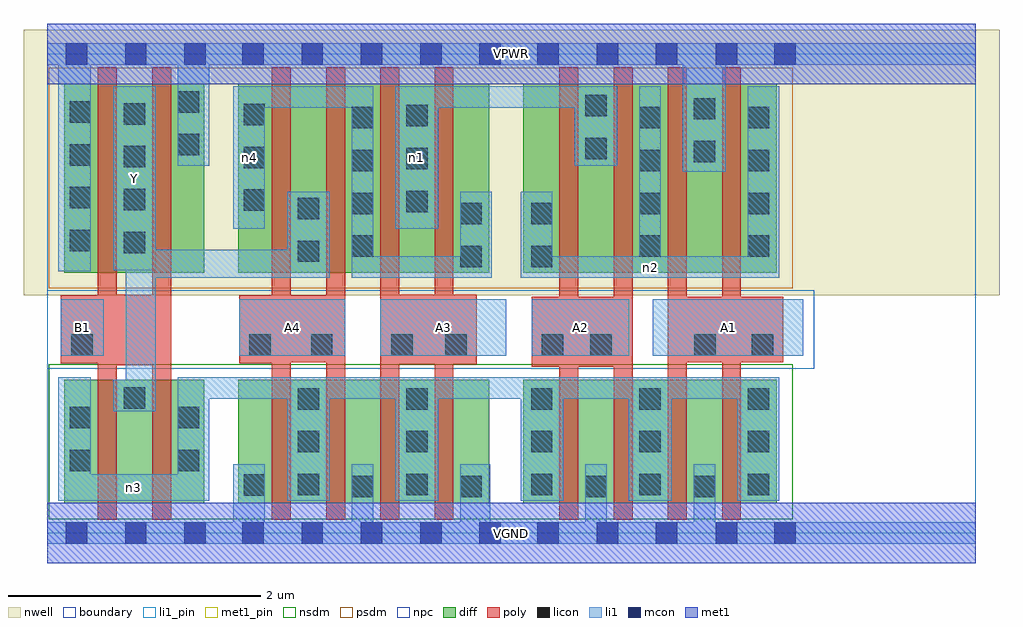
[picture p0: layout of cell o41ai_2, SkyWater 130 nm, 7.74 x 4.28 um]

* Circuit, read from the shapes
.subckt o41ai_2 A1 A2 A3 A4 B1 VGND VPWR Y n1 n2 n3 n4
XM1 Y B1 n3 VSUBS sky130_fd_pr__nfet_01v8 w=0.98 l=0.15 m=2
XM2 n3 A4 VGND VSUBS sky130_fd_pr__nfet_01v8 w=0.98 l=0.15 m=2
XM3 n3 A3 VGND VSUBS sky130_fd_pr__nfet_01v8 w=0.98 l=0.15 m=2
XM4 VGND A2 n3 VSUBS sky130_fd_pr__nfet_01v8 w=0.98 l=0.15 m=2
XM5 VGND A1 n3 VSUBS sky130_fd_pr__nfet_01v8 w=0.98 l=0.15 m=2
XM6 Y B1 VPWR n5 sky130_fd_pr__pfet_01v8 w=1.5 l=0.15 m=2
XM7 Y A4 n4 n5 sky130_fd_pr__pfet_01v8 w=1.5 l=0.15 m=2
XM8 n1 A3 n4 n5 sky130_fd_pr__pfet_01v8 w=1.5 l=0.15 m=2
XM9 n1 A2 n2 n5 sky130_fd_pr__pfet_01v8 w=1.5 l=0.15 m=2
XM10 VPWR A1 n2 n5 sky130_fd_pr__pfet_01v8 w=1.5 l=0.15 m=2
.ends

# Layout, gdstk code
import gdstk
lib = gdstk.Library(unit=1e-6, precision=1e-09)
def R(c, l, rs):  # rectangles x0, y0, x1, y1
    for r in rs: c.add(gdstk.rectangle(r[:2], r[2:], *l))
def A(c, l, x, y, w, h, nx, ny, dx, dy):  # array of equal rectangles
    R(c, l, [(x+i*dx, y+j*dy, x+i*dx+w, y+j*dy+h) for i in range(nx) for j in range(ny)])
nwell = (64, 20)
diff = (65, 20)
poly = (66, 20)
licon = (66, 44)
li1_pin = (67, 16)
li1 = (67, 20)
mcon = (67, 44)
met1_pin = (68, 16)
met1 = (68, 20)
nsdm = (93, 44)
psdm = (94, 20)
npc = (95, 20)
boundary = (235, 4)

o41ai_2 = lib.new_cell('o41ai_2')
R(o41ai_2, nwell, [(-0.19,1.885,7.55,3.99), (0,1.885,7.36,3.99)])
R(o41ai_2, diff, [(0.135,0.235,1.245,1.215), (1.515,0.235,3.505,1.215), (3.775,0.235,5.785,1.215), (0.135,2.065,1.245,3.565), (1.515,2.065,3.505,3.565), (3.775,2.065,5.785,3.565)])
A(o41ai_2, poly, 1.78, 0.105, 0.15, 3.59, 4, 1, 0.43, 0)
A(o41ai_2, poly, 4.06, 0.105, 0.15, 3.59, 4, 1, 0.43, 0)
R(o41ai_2, poly, [(0.4,0.105,0.55,3.695), (0.83,0.105,0.98,3.695), (3.84,1.32,4.64,1.875), (0.4,1.33,0.98,1.89), (2.64,1.34,3.405,1.89), (0.105,1.345,0.98,1.885), (1.52,1.345,1.93,1.885), (1.52,1.355,2.36,1.885), (4.92,1.355,5.835,1.875)])
A(o41ai_2, licon, 1.985, 0.3, 0.17, 0.17, 1, 3, 0, 0.34)
A(o41ai_2, licon, 2.845, 0.3, 0.17, 0.17, 1, 3, 0, 0.34)
A(o41ai_2, licon, 3.835, 0.3, 0.17, 0.17, 3, 3, 0.86, 0.34)
A(o41ai_2, licon, 2.415, 2.19, 0.17, 0.17, 1, 4, 0, 0.34)
A(o41ai_2, licon, 4.695, 2.19, 0.17, 0.17, 1, 4, 0, 0.34)
A(o41ai_2, licon, 5.555, 2.19, 0.17, 0.17, 1, 4, 0, 0.34)
A(o41ai_2, licon, 0.605, 2.22, 0.17, 0.17, 1, 4, 0, 0.34)
A(o41ai_2, licon, 0.175, 2.235, 0.17, 0.17, 1, 4, 0, 0.34)
A(o41ai_2, licon, 2.845, 2.545, 0.17, 0.17, 1, 3, 0, 0.34)
A(o41ai_2, licon, 1.555, 2.555, 0.17, 0.17, 1, 3, 0, 0.34)
R(o41ai_2, licon, [(2.415,0.285,2.585,0.455), (3.275,0.285,3.445,0.455), (4.265,0.285,4.435,0.455), (5.125,0.285,5.295,0.455), (1.555,0.295,1.725,0.465), (0.175,0.49,0.345,0.66), (1.035,0.49,1.205,0.66), (0.175,0.83,0.345,1), (1.035,0.83,1.205,1), (0.605,0.985,0.775,1.155), (0.19,1.405,0.36,1.575), (1.6,1.405,1.77,1.575), (2.09,1.405,2.26,1.575), (2.725,1.405,2.895,1.575), (3.155,1.405,3.325,1.575), (3.92,1.405,4.09,1.575), (4.305,1.405,4.475,1.575), (5.13,1.405,5.3,1.575), (5.585,1.405,5.755,1.575), (3.275,2.11,3.445,2.28), (3.835,2.11,4.005,2.28), (1.985,2.15,2.155,2.32), (3.275,2.45,3.445,2.62), (3.835,2.45,4.005,2.62), (1.985,2.49,2.155,2.66), (5.125,2.94,5.295,3.11), (4.265,2.965,4.435,3.135), (1.035,2.995,1.205,3.165), (5.125,3.28,5.295,3.45), (4.265,3.305,4.435,3.475), (1.035,3.335,1.205,3.505)])
R(o41ai_2, li1_pin, [(0.105,1.405,0.445,1.855), (1.52,1.405,2.36,1.855), (2.64,1.405,3.64,1.855), (3.84,1.405,4.615,1.855), (4.8,1.405,5.995,1.855), (0.52,2.085,0.86,3.545)])
R(o41ai_2, li1, [(0,-0.085,7.36,0.085), (1.475,-0.085,1.725,0.545), (2.415,-0.085,2.585,0.545), (3.275,-0.085,3.51,0.545), (4.265,-0.085,4.435,0.545), (5.125,-0.085,5.295,0.545), (0.085,0.255,1.285,0.465), (0.085,0.255,0.345,1.235), (1.035,0.255,1.285,1.235), (1.9,0.255,2.24,1.235), (2.76,0.255,3.1,1.235), (3.755,0.255,4.09,1.235), (4.61,0.255,4.95,1.235), (5.47,0.255,5.805,1.235), (0.52,0.965,0.86,1.215), (0.62,0.965,0.86,3.545), (1.035,1.065,5.805,1.235), (0.105,1.405,0.445,1.855), (1.52,1.405,2.36,1.855), (2.64,1.405,3.64,1.855), (3.84,1.405,4.615,1.855), (4.8,1.405,5.995,1.855), (0.62,2.025,2.24,2.245), (1.9,2.025,2.24,2.705), (2.415,2.025,3.525,2.195), (2.415,2.025,2.585,3.545), (3.275,2.025,3.525,2.705), (3.755,2.025,4.005,2.705), (3.755,2.025,5.805,2.195), (4.695,2.025,4.865,3.545), (5.555,2.025,5.805,3.545), (0.085,2.075,0.345,3.885), (0.52,2.085,0.86,3.545), (1.475,2.415,1.725,3.545), (2.76,2.415,3.1,3.545), (5.04,2.865,5.38,3.885), (1.035,2.915,1.285,3.885), (4.18,2.915,4.52,3.545), (1.475,3.375,2.585,3.545), (2.76,3.375,4.52,3.545), (0,3.715,7.36,3.885)])
A(o41ai_2, mcon, 0.145, -0.085, 0.17, 0.17, 3, 2, 0.47, 3.8)
A(o41ai_2, mcon, 1.545, -0.085, 0.17, 0.17, 5, 2, 0.47, 3.8)
A(o41ai_2, mcon, 3.885, -0.085, 0.17, 0.17, 3, 2, 0.47, 3.8)
R(o41ai_2, mcon, [(5.3,-0.085,5.47,0.085), (5.765,-0.085,5.935,0.085), (5.3,3.715,5.47,3.885), (5.765,3.715,5.935,3.885)])
R(o41ai_2, met1_pin, [(0,-0.24,7.36,0.24), (0,3.56,7.36,4.04)])
R(o41ai_2, met1, [(0,-0.24,7.36,0.24), (0,3.56,7.36,4.04)])
R(o41ai_2, nsdm, [(0.01,0.11,5.91,1.34)])
R(o41ai_2, psdm, [(0.01,1.94,5.91,3.69)])
R(o41ai_2, npc, [(0,1.305,6.08,1.925)])
R(o41ai_2, boundary, [(0,0,7.36,3.8)])
o41ai_2.add(gdstk.Label('A1', (5.397,1.63), layer=67, texttype=5))
o41ai_2.add(gdstk.Label('A2', (4.227,1.63), layer=67, texttype=5))
o41ai_2.add(gdstk.Label('A3', (3.14,1.63), layer=67, texttype=5))
o41ai_2.add(gdstk.Label('A4', (1.94,1.63), layer=67, texttype=5))
o41ai_2.add(gdstk.Label('B1', (0.275,1.63), layer=67, texttype=5))
o41ai_2.add(gdstk.Label('Y', (0.69,2.815), layer=67, texttype=5))
o41ai_2.add(gdstk.Label('n3', (0.685,0.36), layer=67, texttype=5))
o41ai_2.add(gdstk.Label('n4', (1.6,2.98), layer=67, texttype=5))
o41ai_2.add(gdstk.Label('n1', (2.93,2.98), layer=67, texttype=5))
o41ai_2.add(gdstk.Label('n2', (4.78,2.11), layer=67, texttype=5))
o41ai_2.add(gdstk.Label('VPWR', (3.68,3.8), layer=68, texttype=5))
o41ai_2.add(gdstk.Label('VGND', (3.68,0), layer=68, texttype=5))
o41ai_2.add(gdstk.Label('A1', (5.397,1.63), layer=67, texttype=16))
o41ai_2.add(gdstk.Label('A2', (4.227,1.63), layer=67, texttype=16))
o41ai_2.add(gdstk.Label('A3', (3.14,1.63), layer=67, texttype=16))
o41ai_2.add(gdstk.Label('A4', (1.94,1.63), layer=67, texttype=16))
o41ai_2.add(gdstk.Label('B1', (0.275,1.63), layer=67, texttype=16))
o41ai_2.add(gdstk.Label('Y', (0.69,2.815), layer=67, texttype=16))
o41ai_2.add(gdstk.Label('VPWR', (3.68,3.8), layer=68, texttype=16))
o41ai_2.add(gdstk.Label('VGND', (3.68,0), layer=68, texttype=16))

lib.write_gds('o41ai_2.gds')
